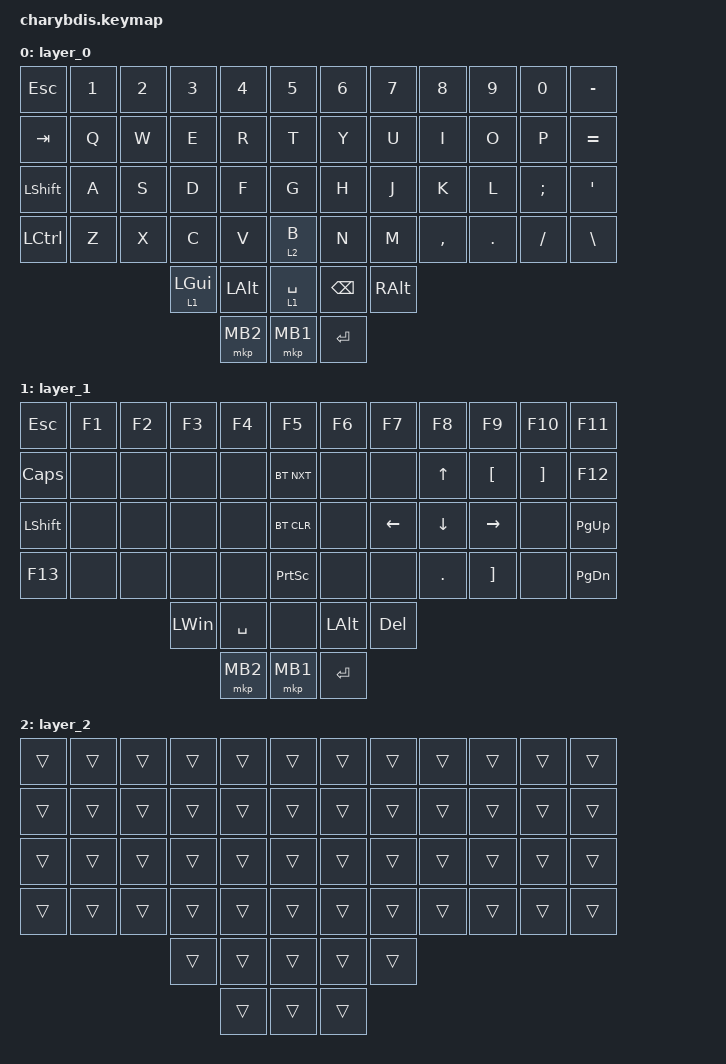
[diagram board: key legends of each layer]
#include <dt-bindings/zmk/mouse.h>

#define ZMK_POINTING_DEFAULT_SCRL_VAL -1  // 세로 스크롤 방향 반전 + 기본 속도(절댓값이 클수록 빠름)
#define ZMK_POINTING_DEFAULT_MOVE_VAL 6000   // 기본 커서 이동 속도(필요시 조절)

#include <behaviors.dtsi>
#include <dt-bindings/zmk/bt.h>
#include <dt-bindings/zmk/keys.h>
#include <dt-bindings/zmk/pointing.h>

&lt {
    tapping-term-ms = <200>;
    flavor = "balanced";
    quick-tap-ms = <150>;
};

/ {
    keymap {
        compatible = "zmk,keymap";

        layer_0 {
            bindings = <
&kp ESC         &kp N1  &kp N2  &kp N3      &kp N4    &kp N5         &kp N6     &kp N7    &kp N8     &kp N9   &kp N0     &kp MINUS
&kp TAB         &kp Q   &kp W   &kp E       &kp R     &kp T          &kp Y      &kp U     &kp I      &kp O    &kp P      &kp EQUAL
&kp LEFT_SHIFT  &kp A   &kp S   &kp D       &kp F     &kp G          &kp H      &kp J     &kp K      &kp L    &kp SEMI   &kp SQT
&kp LCTRL       &kp Z   &kp X   &kp C       &kp V     &lt 2 B        &kp N      &kp M     &kp COMMA  &kp DOT  &kp SLASH  &kp BSLH
                                &lt 1 LGUI  &kp LALT  &lt 1 SPACE    &kp BSPC   &kp RALT
                                            &mkp MB2  &mkp MB1       &kp ENTER
            >;

            trackball-bindings = <&tmv_coarse>;
        };

        layer_1 {
            bindings = <
&kp ESC         &kp F1  &kp F2  &kp F3        &kp F4     &kp F5             &kp F6     &kp F7      &kp F8      &kp F9             &kp F10   &kp F11
&kp CAPS        &none   &none   &none         &none      &bt BT_NXT         &none      &none       &kp UP      &kp LBKT           &kp RBKT  &kp F12
&kp LEFT_SHIFT  &none   &none   &none         &none      &bt BT_CLR         &none      &kp LEFT    &kp DOWN    &kp RIGHT          &none     &kp PAGE_UP
&kp F13         &none   &none   &none         &none      &kp PRINTSCREEN    &none      &none       &kp PERIOD  &kp RIGHT_BRACKET  &none     &kp PAGE_DOWN
                                &kp LEFT_WIN  &kp SPACE  &none              &kp LALT   &kp DELETE
                                              &mkp MB2   &mkp MB1           &kp ENTER
            >;

            trackball-bindings = <&tsl>;
        };

        layer_2 {
            // B 키를 홀드하는 동안만 켜지는 정밀(스나이프) 레이어

            bindings = <
&trans  &trans  &trans  &trans  &trans  &trans    &trans  &trans  &trans  &trans  &trans  &trans
&trans  &trans  &trans  &trans  &trans  &trans    &trans  &trans  &trans  &trans  &trans  &trans
&trans  &trans  &trans  &trans  &trans  &trans    &trans  &trans  &trans  &trans  &trans  &trans
&trans  &trans  &trans  &trans  &trans  &trans    &trans  &trans  &trans  &trans  &trans  &trans
                        &trans  &trans  &trans    &trans  &trans
                                &trans  &trans    &trans
            >;

            trackball-bindings = <&tmv_fine>;
        };

        /* layer_2 {
            bindings = <
&none  &none   &none    &none   &none         &none         &kp N1         &none         &none     &none  &none   &to 0
&none  &none   &none    &none   &none         &none         &none         &none          &rgb_ug RGB_BRD &rgb_ug RGB_BRI  &rgb_ug RGB_EFF   &rgb_ug RGB_TOG
&none  &none   &none    &none   &none         &none         &none         &mkp LCLK     &mkp RCLK  &none  &none   &none
&none  &none   &none    &none   &bt BT_NXT  &bt BT_CLR    &none         &none         &none     &none  &none   &none
                                   &none         &none         &none         &none         &none
                                                 &none         &none         &none
            >;
          trackball-bindings = <&tsl>;
            
        };

       Mouse {
            bindings = <
&none        &none         &none         &none         &none      &none         &none       &none      &none         &none         &none         &none
&none        &bt BT_SEL 0  &bt BT_SEL 1  &bt BT_SEL 3  &none      &bt BT_CLR    &bt BT_CLR  &none      &bt BT_SEL 2  &bt BT_SEL 1  &bt BT_SEL 0  &none
&none        &trans        &trans        &mkp MCLK     &trans     &none         &none       &trans     &mkp MCLK     &trans        &trans        &none
&bootloader  &trans        &mkp RCLK     &mo 4         &mkp LCLK  &mo 5         &mo 5       &mkp LCLK  &mo 4         &mkp RCLK     &trans        &bootloader
                                         &mo 5         &mkp LCLK  &mkp RCLK     &mkp RCLK   &mkp LCLK
                                                       &none      &trans        &trans
            >;

            
        };

        layer_4 {
            bindings = <
&trans  &trans  &trans     &trans     &trans     &trans       &trans     &trans     &trans     &trans     &trans  &trans
&trans  &trans  &trans     &trans     &trans     &trans       &trans     &trans     &trans     &trans     &trans  &trans
&trans  &trans  &trans     &mkp MCLK  &trans     &trans       &trans     &trans     &mkp MCLK  &trans     &trans  &trans
&trans  &trans  &mkp RCLK  &trans     &mkp LCLK  &trans       &trans     &mkp LCLK  &trans     &mkp RCLK  &trans  &trans
                           &trans     &mkp LCLK  &mkp RCLK    &mkp RCLK  &mkp LCLK
                                      &trans     &trans       &trans
            >;
                
                
                trackball-bindings = <&tsl>;
        };

        layer_5 {
            bindings = <
&trans  &trans  &trans     &trans     &trans     &trans       &trans     &trans     &trans     &trans     &trans  &trans
&trans  &trans  &trans     &trans     &trans     &trans       &trans     &trans     &trans     &trans     &trans  &trans
&trans  &trans  &trans     &mkp MCLK  &trans     &trans       &trans     &trans     &mkp MCLK  &trans     &trans  &trans
&trans  &trans  &mkp RCLK  &trans     &mkp LCLK  &trans       &trans     &mkp LCLK  &trans     &mkp RCLK  &trans  &trans
                           &trans     &mkp LCLK  &mkp RCLK    &mkp RCLK  &mkp LCLK
                                      &trans     &trans       &trans
            >;
                trackball-bindings = <&tmv_fine>;
                
        };*/
    };
};
